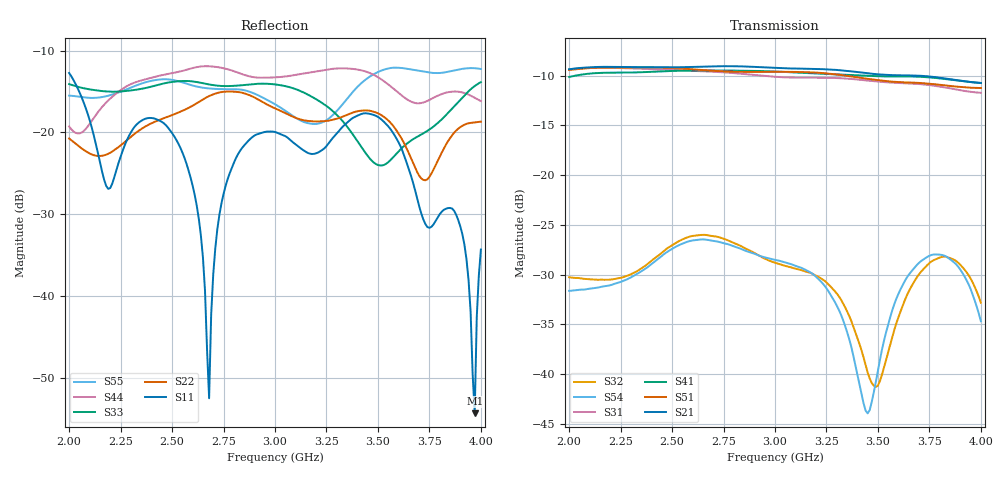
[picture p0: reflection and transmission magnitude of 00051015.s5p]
! Created with skrf 1.8.0 (http://scikit-rf.org).
# Hz S RI R 50.0
!freq ReS11 ImS11 ReS12 ImS12 ReS13 ImS13
! ReS14 ImS14 ReS15 ImS15
! ReS21 ImS21 ReS22 ImS22 ReS23 ImS23
! ReS24 ImS24 ReS25 ImS25
! ReS31 ImS31 ReS32 ImS32 ReS33 ImS33
! ReS34 ImS34 ReS35 ImS35
! ReS41 ImS41 ReS42 ImS42 ReS43 ImS43
! ReS44 ImS44 ReS45 ImS45
! ReS51 ImS51 ReS52 ImS52 ReS53 ImS53
! ReS54 ImS54 ReS55 ImS55
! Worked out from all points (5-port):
!   201 points, 2 GHz to 4 GHz, reference 50 ohm
!   strongest paths, dB at 2 GHz, 2.5 GHz, 3 GHz, 3.5 GHz, 4 GHz:
!     S21: -9.4, -9.2, -9.2, -9.9, -10.7
!     S51: -9.4, -9.2, -9.6, -10.4, -11.2
!     S41: -10.1, -9.5, -9.6, -10.1, -10.7
!     S31: -9.4, -9.4, -10.1, -10.6, -11.7
!     S54: -31.6, -27.4, -28.5, -39.6, -34.7
!     S32: -30.3, -27.0, -28.8, -41.2, -32.8
!   lowest |S11| = -54.4 dB at 3.97 GHz (marker M1), VSWR 1.00, Z = 50.1 + j0.152 ohm
!   |S11| at or under -10 dB: start of sweep to end of sweep
